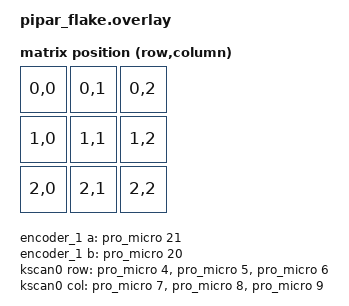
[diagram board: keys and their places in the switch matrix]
/*
 * Copyright (c) 2022 The ZMK Contributors
 *
 * SPDX-License-Identifier: MIT
 */

#include <dt-bindings/zmk/matrix_transform.h>

/ {
  chosen {
    zmk,kscan = &kscan0;
    zmk,matrix-transform = &default_transform;
    // Removed backlight, display is optional - can be enabled in overlay if needed
  };

  encoder_1: encoder_1 {
    compatible = "alps,ec11";
    a-gpios = <&pro_micro 21 (GPIO_ACTIVE_HIGH | GPIO_PULL_UP)>;
    b-gpios = <&pro_micro 20 (GPIO_ACTIVE_HIGH | GPIO_PULL_UP)>;
    steps = <60>;
    status = "disabled";
  };

  kscan0: kscan_0 {
    compatible = "zmk,kscan-gpio-matrix";
    diode-direction = "col2row";
    wakeup-source;

    row-gpios
      = <&pro_micro 4 (GPIO_ACTIVE_HIGH | GPIO_PULL_DOWN)>
      , <&pro_micro 5 (GPIO_ACTIVE_HIGH | GPIO_PULL_DOWN)>
      , <&pro_micro 6 (GPIO_ACTIVE_HIGH | GPIO_PULL_DOWN)>
      ;

    col-gpios
      = <&pro_micro 7 GPIO_ACTIVE_HIGH>
      , <&pro_micro 8 GPIO_ACTIVE_HIGH>
      , <&pro_micro 9 GPIO_ACTIVE_HIGH>
      ;
  };

  default_transform: keymap_transform_0 {
    compatible = "zmk,matrix-transform";
    columns = <3>;
    rows = <3>;
    map = <
            RC(0, 0) RC(0, 1) RC(0, 2)
            RC(1, 0) RC(1, 1) RC(1, 2)
            RC(2, 0) RC(2, 1) RC(2, 2)
    >;
  };

  // Removed backlight section
};

// PWM is only needed if you have encoder that requires it
// Comment out if not needed
&pwm0 {
    status = "okay";
    pinctrl-0 = <&pwm0_default>;
    pinctrl-1 = <&pwm0_sleep>;
    pinctrl-names = "default", "sleep";
};

// I2C for OLED - disabled by default, enable in overlay if needed
&pro_micro_i2c {
    status = "disabled";
};
